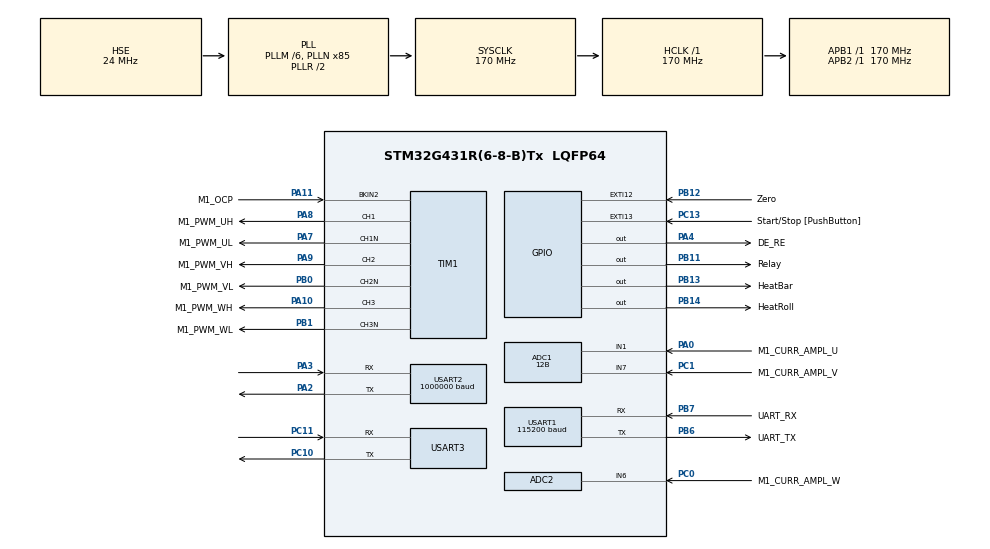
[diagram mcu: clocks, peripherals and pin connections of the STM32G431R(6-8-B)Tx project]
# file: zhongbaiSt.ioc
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ADC1.ClockPrescaler=ADC_CLOCK_ASYNC_DIV4
ADC1.ContinuousConvMode=DISABLE
ADC1.DMAContinuousRequests=DISABLE
ADC1.DataAlign=ADC_DATAALIGN_LEFT
ADC1.DiscontinuousConvMode=DISABLE
ADC1.EOCSelection=ADC_EOC_SINGLE_CONV
ADC1.EnableAnalogWatchDog1=false
ADC1.EnableAnalogWatchDog2=false
ADC1.EnableAnalogWatchDog3=false
ADC1.EnableInjectedConversion=ENABLE
ADC1.EnableRegularConversion=DISABLE
ADC1.ExternalTrigInjecConv=ADC_EXTERNALTRIGINJEC_T1_TRGO
ADC1.ExternalTrigInjecConvEdge=ADC_EXTERNALTRIGINJECCONV_EDGE_RISING
ADC1.InjNumberOfConversion=2
ADC1.InjectedChannel-1\#ChannelInjectedConversion=ADC_CHANNEL_1
ADC1.InjectedChannel-2\#ChannelInjectedConversion=ADC_CHANNEL_7
ADC1.InjectedConvMode=None
ADC1.InjectedOffset-1\#ChannelInjectedConversion=0
ADC1.InjectedOffset-2\#ChannelInjectedConversion=0
ADC1.InjectedOffsetNumber-1\#ChannelInjectedConversion=ADC_OFFSET_NONE
ADC1.InjectedOffsetNumber-2\#ChannelInjectedConversion=ADC_OFFSET_NONE
ADC1.InjectedRank-1\#ChannelInjectedConversion=1
ADC1.InjectedRank-2\#ChannelInjectedConversion=2
ADC1.InjectedSamplingTime-1\#ChannelInjectedConversion=ADC_SAMPLETIME_6CYCLES_5
ADC1.InjectedSamplingTime-2\#ChannelInjectedConversion=ADC_SAMPLETIME_6CYCLES_5
ADC1.LowPowerAutoWait=DISABLE
ADC1.Overrun=ADC_OVR_DATA_PRESERVED
ADC1.Resolution=ADC_RESOLUTION_12B
ADC1.ScanConvMode=ADC_SCAN_ENABLE
ADC1.master=1
ADC2.ClockPrescaler=ADC_CLOCK_ASYNC_DIV4
ADC2.ContinuousConvMode=DISABLE
ADC2.DMAContinuousRequests=DISABLE
ADC2.DataAlign=ADC_DATAALIGN_LEFT
ADC2.DiscontinuousConvMode=DISABLE
ADC2.EOCSelection=ADC_EOC_SINGLE_CONV
ADC2.EnableAnalogWatchDog1=false
ADC2.EnableAnalogWatchDog2=false
ADC2.EnableAnalogWatchDog3=false
ADC2.EnableInjectedConversion=ENABLE
ADC2.EnableRegularConversion=DISABLE
ADC2.ExternalTrigInjecConv=ADC_EXTERNALTRIGINJEC_T1_TRGO
ADC2.ExternalTrigInjecConvEdge=ADC_EXTERNALTRIGINJECCONV_EDGE_RISING
ADC2.InjNumberOfConversion=2
ADC2.InjectedChannel-1\#ChannelInjectedConversion=ADC_CHANNEL_7
ADC2.InjectedChannel-2\#ChannelInjectedConversion=ADC_CHANNEL_6
ADC2.InjectedConvMode=None
ADC2.InjectedOffset-1\#ChannelInjectedConversion=0
ADC2.InjectedOffset-2\#ChannelInjectedConversion=0
ADC2.InjectedOffsetNumber-1\#ChannelInjectedConversion=ADC_OFFSET_NONE
ADC2.InjectedOffsetNumber-2\#ChannelInjectedConversion=ADC_OFFSET_NONE
ADC2.InjectedRank-1\#ChannelInjectedConversion=1
ADC2.InjectedRank-2\#ChannelInjectedConversion=2
ADC2.InjectedSamplingTime-1\#ChannelInjectedConversion=ADC_SAMPLETIME_6CYCLES_5
ADC2.InjectedSamplingTime-2\#ChannelInjectedConversion=ADC_SAMPLETIME_6CYCLES_5
ADC2.LowPowerAutoWait=DISABLE
ADC2.Overrun=ADC_OVR_DATA_PRESERVED
ADC2.Resolution=ADC_RESOLUTION_12B
ADC2.ScanConvMode=ADC_SCAN_ENABLE
ADC2.master=1
ExtraMW=MotorControl
ExtraMW.MotorControl.Config=MotorControl
ExtraMW.MotorControl.Mode=MotorControl
ExtraMW.MotorControl.Root=MCSDK_v5.4.8-Full/MotorControl
ExtraMW.MotorControl.Template=templates
Mcu.Family=STM32G4
Mcu.Name=STM32G431R(6-8-B)Tx
Mcu.Package=LQFP64
MotorControl.ADC_1_PERIPH=ADC1
MotorControl.ADC_2_PERIPH=ADC2
MotorControl.ADC_AHBPERIPH=RCC_AHBPeriph_ADC12
MotorControl.ADC_CLOCK_WB_DIV=4
MotorControl.ADC_CLOCK_WB_FREQ=42.5
MotorControl.ADC_PERIPH=ADC1
MotorControl.ADC_REFERENCE_VOLTAGE=3.30
MotorControl.ALIGNMENT_ANGLE_DEG=90
MotorControl.ALIGNMENT_DURATION=700
MotorControl.AMPLIFICATION_GAIN=2.20
MotorControl.ANGC={0,0,0,0,0,0,0,0}
MotorControl.BEMF_CONSISTENCY_GAIN=64
MotorControl.BEMF_CONSISTENCY_TOL=64
MotorControl.BKIN1_FILTER=0
MotorControl.BKIN2_FILTER=3
MotorControl.BKIN2_MODE=EXT_MODE
MotorControl.BKIN_MODE=NONE
MotorControl.BOARD=CUSTOM
MotorControl.BRKIN2_GPIO_AF=GPIO_AF_12
MotorControl.BRKIN_GPIO_AF=GPIO_AF_2
MotorControl.BUS_VOLTAGE_READING=true
MotorControl.CCMRAM_ENABLED=false
MotorControl.CLOCK_FREQUENCY=CPU_CLK_170_MHZ
MotorControl.CLOCK_SOURCE=EXTERNAL
MotorControl.CONSTANT1_D=170823
MotorControl.CONSTANT1_Q=170823
MotorControl.CONSTANT2_QD=17712
MotorControl.CORD_BEMF_CONSISTENCY_GAIN=64
MotorControl.CORD_BEMF_CONSISTENCY_TOL=64
MotorControl.CORD_F1=16384
MotorControl.CORD_F2=8192
MotorControl.CORD_FIFO_DEPTH_01HZ=64
MotorControl.CORD_FIFO_DEPTH_DPP=64
MotorControl.CORD_GAIN1=-24462
MotorControl.CORD_GAIN2=17764
MotorControl.CORD_MAX_ACCEL_DPPP=30
MotorControl.CORD_MEAS_ERRORS_BEFORE_FAULTS=3
MotorControl.CORD_VARIANCE_THRESHOLD=4
MotorControl.CPU_CLK_170_MHZ=true
MotorControl.CTRBDID=29
MotorControl.CUBE_MX_VER=6.3.0
MotorControl.CURRENT_READING_TOPOLOGY=THREE_SHUNT_INDEPENDENT_RESOURCES
MotorControl.CURR_SAMPLING_TIME=6
MotorControl.DAC_EMULATED=false
MotorControl.DAC_FUNCTIONALITY=false
MotorControl.DAC_TIMER_CH1_GPIO_PIN=LL_GPIO_PIN_0
MotorControl.DAC_TIMER_CH1_GPIO_PORT=GPIOA
MotorControl.DAC_TIMER_CH2_GPIO_PIN=LL_GPIO_PIN_0
MotorControl.DAC_TIMER_CH2_GPIO_PORT=GPIOA
MotorControl.DAC_TIMER_SELECTION=TIM3
MotorControl.DC_CURRENT_RS_MEAS=2.50
MotorControl.DEBUG_DAC_CH1=false
MotorControl.DEBUG_DAC_CH2=false
MotorControl.DEFAULT_CONTROL_MODE=STC_SPEED_MODE
MotorControl.DEFAULT_DAC_CHANNEL_1=MC_PROTOCOL_REG_I_A
MotorControl.DEFAULT_DAC_CHANNEL_2=MC_PROTOCOL_REG_I_B
MotorControl.DEFAULT_DAC_MOTOR=0
MotorControl.DEFAULT_FLUX_COMPONENT=0
MotorControl.DEFAULT_TARGET_SPEED_RPM=1800
MotorControl.DEFAULT_TORQUE_COMPONENT=0
MotorControl.DISSIPATIVE_BRAKE_POLARITY=DOUT_ACTIVE_HIGH
MotorControl.DRIVES_NUMBER_SELECTION=SINGLEDRIVE
MotorControl.EMERGENCY2_STOP_GPIO_PIN=LL_GPIO_PIN_11
MotorControl.EMERGENCY2_STOP_GPIO_PORT=GPIOA
MotorControl.EMERGENCY_STOP_GPIO_PIN=LL_GPIO_PIN_11
MotorControl.EMERGENCY_STOP_GPIO_PORT=GPIOA
MotorControl.ENABLE_SL_ALGO_FROM_PHASE=3
MotorControl.ENCODER_AVAILABLE=false
MotorControl.ENCODER_PPR=400
MotorControl.ENC_AVERAGING_FIFO_DEPTH=16
MotorControl.ENC_A_GPIO_PIN=LL_GPIO_PIN_15
MotorControl.ENC_A_GPIO_PORT=GPIOA
MotorControl.ENC_B_GPIO_PIN=LL_GPIO_PIN_3
MotorControl.ENC_B_GPIO_PORT=GPIOB
MotorControl.ENC_ICx_FILTER=119
MotorControl.ENC_INVERT_SPEED=false
MotorControl.ENC_MEAS_ERRORS_BEFORE_FAULTS=3
MotorControl.ENC_TIMER_REMAPPING=NO_REMAP_TIM2
MotorControl.ENC_TIMER_SELECTION=ENC_TIM2
MotorControl.ENC_USE_CH3=false
MotorControl.EXT_CLK_24_MHZ=true
MotorControl.EXT_CLOCK_FREQUENCY=EXT_CLK_24_MHZ
MotorControl.F1=16384
MotorControl.F2=8192
MotorControl.FEEDBACK_NET_FILTERING=false
MotorControl.FEED_FORWARD_CURRENT_REG_ENABLING=false
MotorControl.FINAL_I_ALIGNMENT=8519
MotorControl.FLUX_WEAKENING_ENABLING=false
MotorControl.FW_KIDIV=32768
MotorControl.FW_KI_GAIN=5000
MotorControl.FW_KPDIV=32768
MotorControl.FW_KP_GAIN=3000
MotorControl.FW_VOLTAGE_REF=985
MotorControl.GAIN1=-24462
MotorControl.GAIN2=17764
MotorControl.H1_GPIO_PIN=LL_GPIO_PIN_15
MotorControl.H1_GPIO_PORT=GPIOA
MotorControl.H2_GPIO_PIN=LL_GPIO_PIN_3
MotorControl.H2_GPIO_PORT=GPIOB
MotorControl.H3_GPIO_PIN=LL_GPIO_PIN_10
MotorControl.H3_GPIO_PORT=GPIOB
MotorControl.HALL_AVERAGING_FIFO_DEPTH=6
MotorControl.HALL_ICx_FILTER=221
MotorControl.HALL_MEAS_ERRORS_BEFORE_FAULTS=3
MotorControl.HALL_MTPA=false
MotorControl.HALL_PHASE_SHIFT=300
MotorControl.HALL_SENSORS_AVAILABLE=false
MotorControl.HALL_SENSORS_PLACEMENT=DEGREES_120
MotorControl.HALL_TIMER_REMAPPING=NO_REMAP_TIM2
MotorControl.HALL_TIMER_SELECTION=HALL_TIM2
MotorControl.HFI_AMPLITUDE=25
MotorControl.HFI_DC_0_COEFF=0.00146
MotorControl.HFI_DC_1_COEFF=0.002921
MotorControl.HFI_DC_2_COEFF=0.00146
MotorControl.HFI_DC_3_COEFF=1.889033
MotorControl.HFI_DC_4_COEFF=-0.894874
MotorControl.HFI_DEBUG_MODE=false
MotorControl.HFI_FREQUENCY=400
MotorControl.HFI_HIFRAMPLSCAN=25
MotorControl.HFI_HP_ID_0_COEFF=0.925191
MotorControl.HFI_HP_ID_1_COEFF=-1.850383
MotorControl.HFI_HP_ID_2_COEFF=0.925191
MotorControl.HFI_HP_ID_3_COEFF=1.844778
MotorControl.HFI_HP_ID_4_COEFF=-0.855987
MotorControl.HFI_IDH_DELAY=32400
MotorControl.HFI_LOCKFREQ=41
MotorControl.HFI_LP_ID_0_COEFF=0.009086
MotorControl.HFI_LP_ID_1_COEFF=0.018172
MotorControl.HFI_LP_ID_2_COEFF=0.009086
MotorControl.HFI_LP_ID_3_COEFF=1.712838
MotorControl.HFI_LP_ID_4_COEFF=-0.749181
MotorControl.HFI_MAXANGLEDIFF=3640
MotorControl.HFI_MINIMUM_SPEED_RPM=402
MotorControl.HFI_NOTCH_IQD_0_COEFF=0.962363
MotorControl.HFI_NOTCH_IQD_1_COEFF=-1.90103
MotorControl.HFI_NOTCH_IQD_2_COEFF=0.962363
MotorControl.HFI_NOTCH_IQD_3_COEFF=1.90103
MotorControl.HFI_NOTCH_IQD_4_COEFF=-0.924727
MotorControl.HFI_NSDETPOINTSSKIP=10
MotorControl.HFI_NSMAXDETPOINTS=20
MotorControl.HFI_NS_MIN_SAT_DIFF=0
MotorControl.HFI_PID_KIDIV=32768
MotorControl.HFI_PID_KI_DEFAULT=400
MotorControl.HFI_PID_KPDIV=16384
MotorControl.HFI_PID_KP_DEFAULT=800
MotorControl.HFI_PLL_KI_DEFAULT=0.00400
MotorControl.HFI_PLL_KP_DEFAULT=0.00060
MotorControl.HFI_RESTARTTIMESEC=0.1
MotorControl.HFI_RESTART_RPM_TH=(((HFI_STO_RPM_TH)+(STO_HFI_RPM_TH))/2)
MotorControl.HFI_REVERT_DIRECTION=true
MotorControl.HFI_SCANROTATIONSNO=3
MotorControl.HFI_SPD_BUFFER_DEPTH_01HZ=64
MotorControl.HFI_STEPANGLE=3640
MotorControl.HFI_STO_RPM_TH=OBS_MINIMUM_SPEED_RPM
MotorControl.HFI_WAITAFTERNS2=4
MotorControl.HFI_WAITBEFORESN=6
MotorControl.HFI_WAITSYNCH=20
MotorControl.HFI_WAITTRACK=20
MotorControl.HIGH_SIDE_BRAKE_STATE=false
MotorControl.HIGH_SIDE_IDLE_STATE=false
MotorControl.HW_COMPLEMENTED_LOW_SIDE=false
MotorControl.HW_DEAD_TIME_NS=100
MotorControl.HW_OV_CURRENT_PROT_BYPASS=false
MotorControl.ID_DEMAG=-10922
MotorControl.INRUSH_CURRLIMIT_AT_POWER_ON=true
MotorControl.INRUSH_CURRLIMIT_CHANGE_AFTER_MS=1000
MotorControl.INRUSH_CURRLIMIT_ENABLING=false
MotorControl.INRUSH_CURRLIMIT_GPIO_PIN=LL_GPIO_PIN_10
MotorControl.INRUSH_CURRLIMIT_GPIO_PORT=GPIOC
MotorControl.INRUSH_CURR_LIMITER_POLARITY=DOUT_ACTIVE_HIGH
MotorControl.INTERNAL_OVERCURRENTPROTECTION=false
MotorControl.INTERNAL_OVERVOLTAGEPROTECTION=false
MotorControl.IPs=CORDIC,NVIC,RCC,SYS,MotorControl,TIM1,ADC1,ADC2,DAC1,USART1
MotorControl.IQMAX=10922
MotorControl.LCD_JOYSTICK_FUNCTIONALITY=false
MotorControl.LCD_MODE=LCD_FULL
MotorControl.LDLQ_RATIO=1.000
MotorControl.LOW_SIDE_BRAKE_STATE=false
MotorControl.LOW_SIDE_IDLE_STATE=false
MotorControl.LOW_SIDE_SIGNALS_ENABLING=LS_PWM_TIMER
MotorControl.LS=0.005765
MotorControl.MAX_APPLICATION_SPEED=20000
MotorControl.MAX_MODULATION_97_PER_CENT=true
MotorControl.MAX_MODULATION_INDEX=MAX_MODULATION_97_PER_CENT
MotorControl.MCU=STM32G431RB
MotorControl.MCU_TYPE=STM32G431RB
MotorControl.MC_WORKBENCH_VERSION=5.4.8.21553
MotorControl.MEAS_ERRORS_BEFORE_FAULTS=3
MotorControl.MIN_APPLICATION_SPEED=0
MotorControl.MOTOR_MAX_SPEED_RPM=20000
MotorControl.MOTOR_TYPE=PMSM
MotorControl.MOTOR_VOLTAGE_CONSTANT=9.2
MotorControl.MTPA_ENABLING=false
MotorControl.NB_CONSECUTIVE_TESTS=2
MotorControl.NOMINAL_BUS_VOLTAGE_V=320
MotorControl.NOMINAL_CURRENT=10922
MotorControl.OBS_MEAS_ERRORS_BEFORE_FAULTS=3
MotorControl.OBS_MINIMUM_SPEED_RPM=2500
MotorControl.OCPA_INVERTINGINPUT=COMPX_InvertingInput_VREF
MotorControl.OCPA_INVERTINGINPUT_GPIO_PIN=LL_GPIO_PIN_4
MotorControl.OCPA_INVERTINGINPUT_GPIO_PORT=GPIOA
MotorControl.OCPA_INVERTINGINPUT_MODE=INT_MODE
MotorControl.OCPA_NONINVERTINGINPUT=COMP1_NonInvertingInput_PA1
MotorControl.OCPA_NONINVERTINGINPUT_GPIO_PIN=LL_GPIO_PIN_1
MotorControl.OCPA_NONINVERTINGINPUT_GPIO_PORT=GPIOA
MotorControl.OCPA_OUTPUT=COMP_Output_TIM1BKIN2
MotorControl.OCPA_OUTPUTPOL=COMP_OutputPol_NonInverted
MotorControl.OCPA_OUTPUT_GPIO_AF=GPIO_AF_2
MotorControl.OCPA_OUTPUT_GPIO_PIN=LL_GPIO_PIN_0
MotorControl.OCPA_OUTPUT_GPIO_PORT=GPIOA
MotorControl.OCPA_OUTPUT_MODE=INT_MODE
MotorControl.OCPA_SELECTION=COMP1
MotorControl.OCPB_INVERTINGINPUT=COMPX_InvertingInput_VREF
MotorControl.OCPB_INVERTINGINPUT_GPIO_PIN=LL_GPIO_PIN_4
MotorControl.OCPB_INVERTINGINPUT_GPIO_PORT=GPIOA
MotorControl.OCPB_INVERTINGINPUT_MODE=INT_MODE
MotorControl.OCPB_NONINVERTINGINPUT=COMP2_NonInvertingInput_PA7
MotorControl.OCPB_NONINVERTINGINPUT_GPIO_PIN=LL_GPIO_PIN_7
MotorControl.OCPB_NONINVERTINGINPUT_GPIO_PORT=GPIOA
MotorControl.OCPB_OUTPUT=COMP_Output_TIM1BKIN2
MotorControl.OCPB_OUTPUTPOL=COMP_OutputPol_NonInverted
MotorControl.OCPB_OUTPUT_GPIO_AF=GPIO_AF_2
MotorControl.OCPB_OUTPUT_GPIO_PIN=LL_GPIO_PIN_2
MotorControl.OCPB_OUTPUT_GPIO_PORT=GPIOA
MotorControl.OCPB_OUTPUT_MODE=INT_MODE
MotorControl.OCPB_SELECTION=COMP2
MotorControl.OCPC_INVERTINGINPUT=COMPX_InvertingInput_VREF
MotorControl.OCPC_INVERTINGINPUT_GPIO_PIN=LL_GPIO_PIN_4
MotorControl.OCPC_INVERTINGINPUT_GPIO_PORT=GPIOA
MotorControl.OCPC_INVERTINGINPUT_MODE=INT_MODE
MotorControl.OCPC_NONINVERTINGINPUT=COMP3_NonInvertingInput_PD14
MotorControl.OCPC_NONINVERTINGINPUT_GPIO_PIN=LL_GPIO_PIN_14
MotorControl.OCPC_NONINVERTINGINPUT_GPIO_PORT=GPIOD
MotorControl.OCPC_OUTPUT=COMP_Output_TIM1BKIN2
MotorControl.OCPC_OUTPUTPOL=COMP_OutputPol_NonInverted
MotorControl.OCPC_OUTPUT_GPIO_AF=GPIO_AF_2
MotorControl.OCPC_OUTPUT_GPIO_PIN=LL_GPIO_PIN_8
MotorControl.OCPC_OUTPUT_GPIO_PORT=GPIOC
MotorControl.OCPC_OUTPUT_MODE=INT_MODE
MotorControl.OCPC_SELECTION=COMP3
MotorControl.OCPREF=23830
MotorControl.OCP_COMP_THRESHOLD=5.70
MotorControl.OCP_FILTER=COMP_Mode_HighSpeed
MotorControl.OCP_INVERTINGINPUT=COMPX_InvertingInput_VREF
MotorControl.OCP_INVERTINGINPUT_GPIO_PIN=LL_GPIO_PIN_4
MotorControl.OCP_INVERTINGINPUT_GPIO_PORT=GPIOA
MotorControl.OCP_INVERTINGINPUT_MODE=INT_MODE
MotorControl.OCP_NONINVERTINGINPUT=COMP2_NonInvertingInput_PA7
MotorControl.OCP_NONINVERTINGINPUT_GPIO_PIN=LL_GPIO_PIN_7
MotorControl.OCP_NONINVERTINGINPUT_GPIO_PORT=GPIOA
MotorControl.OCP_OUTPUT=COMP_Output_TIM1BKIN2
MotorControl.OCP_OUTPUTPOL=COMP_OutputPol_NonInverted
MotorControl.OCP_OUTPUT_GPIO_AF=GPIO_AF_2
MotorControl.OCP_OUTPUT_GPIO_PIN=LL_GPIO_PIN_2
MotorControl.OCP_OUTPUT_GPIO_PORT=GPIOA
MotorControl.OCP_OUTPUT_MODE=INT_MODE
MotorControl.OCP_SELECTION=COMP2
MotorControl.OFST={0,0,0,0,0,0,0,0}
MotorControl.ON_OVER_VOLTAGE=TURN_OFF_PWM
MotorControl.OPAMP1_INVERTINGINPUT=OPAMP1_InvertingInput_PGA
MotorControl.OPAMP1_INVERTINGINPUT_GPIO_PIN=LL_GPIO_PIN_3
MotorControl.OPAMP1_INVERTINGINPUT_GPIO_PORT=GPIOA
MotorControl.OPAMP1_INVERTINGINPUT_MODE=INT_MODE
MotorControl.OPAMP1_NONINVERTINGINPUT_PHA=OPAMP1_NonInvertingInput_PA1
MotorControl.OPAMP1_NONINVERTINGINPUT_PHA_GPIO_PIN=LL_GPIO_PIN_1
MotorControl.OPAMP1_NONINVERTINGINPUT_PHA_GPIO_PORT=GPIOA
MotorControl.OPAMP1_NONINVERTINGINPUT_PHB=OPAMP1_NonInvertingInput_PA7
MotorControl.OPAMP1_NONINVERTINGINPUT_PHB_GPIO_PIN=LL_GPIO_PIN_7
MotorControl.OPAMP1_NONINVERTINGINPUT_PHB_GPIO_PORT=GPIOA
MotorControl.OPAMP1_OUT_GPIO_PIN=LL_GPIO_PIN_2
MotorControl.OPAMP1_OUT_GPIO_PORT=GPIOA
MotorControl.OPAMP1_SELECTION=OPAMP1
MotorControl.OPAMP2_INVERTINGINPUT=OPAMP2_InvertingInput_PGA
MotorControl.OPAMP2_INVERTINGINPUT_GPIO_PIN=LL_GPIO_PIN_0
MotorControl.OPAMP2_INVERTINGINPUT_GPIO_PORT=GPIOA
MotorControl.OPAMP2_INVERTINGINPUT_MODE=INT_MODE
MotorControl.OPAMP2_NONINVERTINGINPUT_PHA=OPAMP2_NonInvertingInput_PB14
MotorControl.OPAMP2_NONINVERTINGINPUT_PHA_GPIO_PIN=LL_GPIO_PIN_14
MotorControl.OPAMP2_NONINVERTINGINPUT_PHA_GPIO_PORT=GPIOB
MotorControl.OPAMP2_NONINVERTINGINPUT_PHB=OPAMP2_NonInvertingInput_PA7
MotorControl.OPAMP2_NONINVERTINGINPUT_PHB_GPIO_PIN=LL_GPIO_PIN_7
MotorControl.OPAMP2_NONINVERTINGINPUT_PHB_GPIO_PORT=GPIOA
MotorControl.OPAMP2_NONINVERTINGINPUT_PHC=OPAMP2_NonInvertingInput_PB14
MotorControl.OPAMP2_NONINVERTINGINPUT_PHC_GPIO_PIN=LL_GPIO_PIN_14
MotorControl.OPAMP2_NONINVERTINGINPUT_PHC_GPIO_PORT=GPIOB
MotorControl.OPAMP2_OUT_GPIO_PIN=LL_GPIO_PIN_6
MotorControl.OPAMP2_OUT_GPIO_PORT=GPIOA
MotorControl.OPAMP2_SELECTION=OPAMP2
MotorControl.OPAMP3_INVERTINGINPUT=OPAMP1_InvertingInput_PGA
MotorControl.OPAMP3_INVERTINGINPUT_GPIO_PIN=LL_GPIO_PIN_0
MotorControl.OPAMP3_INVERTINGINPUT_GPIO_PORT=GPIOA
MotorControl.OPAMP3_INVERTINGINPUT_MODE=INT_MODE
MotorControl.OPAMP3_SELECTION=OPAMP1
MotorControl.OPAMP_INVERTINGINPUT=OPAMP1_InvertingInput_PGA
MotorControl.OPAMP_INVERTINGINPUT_GPIO_PIN=LL_GPIO_PIN_3
MotorControl.OPAMP_INVERTINGINPUT_GPIO_PORT=GPIOA
MotorControl.OPAMP_INVERTINGINPUT_MODE=INT_MODE
MotorControl.OPAMP_NONINVERTINGINPUT=OPAMP1_NonInvertingInput_PA7
MotorControl.OPAMP_NONINVERTINGINPUT_GPIO_PIN=LL_GPIO_PIN_7
MotorControl.OPAMP_NONINVERTINGINPUT_GPIO_PORT=GPIOA
MotorControl.OPAMP_OUT_GPIO_PIN=LL_GPIO_PIN_2
MotorControl.OPAMP_OUT_GPIO_PORT=GPIOA
MotorControl.OPAMP_PGACONNECT=OPAMP_PGAConnect_No
MotorControl.OPAMP_PGAGAIN=OPAMP_OPAMP_PGAGain_2
MotorControl.OPAMP_SELECTION=OPAMP1
MotorControl.OPAMP_TYPE_GAIN=INTERNAL
MotorControl.OPEN_LOOP_FOC=false
MotorControl.OPEN_LOOP_K=44
MotorControl.OPEN_LOOP_OFF=4400
MotorControl.OPEN_LOOP_SPEED_RAMP_DURATION_MS=1000
MotorControl.OPEN_LOOP_SPEED_RPM=100
MotorControl.OPEN_LOOP_VF=false
MotorControl.OPEN_LOOP_VOLTAGE_d=6000
MotorControl.OVERCURR_FEEDBACK_POLARITY=EMSTOP_ACTIVE_LOW
MotorControl.OVERCURR_PROTECTION_HW_DISABLING=DOUT_ACTIVE_HIGH
MotorControl.OVPREF=23830
MotorControl.OVP_FILTER=COMP_Mode_HighSpeed
MotorControl.OVP_INVERTINGINPUT=COMPX_InvertingInput_VREF
MotorControl.OVP_INVERTINGINPUT_GPIO_PIN=LL_GPIO_PIN_4
MotorControl.OVP_INVERTINGINPUT_GPIO_PORT=GPIOA
MotorControl.OVP_INVERTINGINPUT_MODE=INT_MODE
MotorControl.OVP_NONINVERTINGINPUT=COMP2_NonInvertingInput_PA7
MotorControl.OVP_NONINVERTINGINPUT_GPIO_PIN=LL_GPIO_PIN_7
MotorControl.OVP_NONINVERTINGINPUT_GPIO_PORT=GPIOA
MotorControl.OVP_OUTPUT=COMP_Output_TIM1BKIN
MotorControl.OVP_OUTPUTPOL=COMP_OutputPol_NonInverted
MotorControl.OVP_OUTPUT_GPIO_AF=GPIO_AF_2
MotorControl.OVP_OUTPUT_GPIO_PIN=LL_GPIO_PIN_2
MotorControl.OVP_OUTPUT_GPIO_PORT=GPIOA
MotorControl.OVP_OUTPUT_MODE=INT_MODE
MotorControl.OVP_SELECTION=COMP2
MotorControl.OV_CURR_BYPASS_GPIO_PIN=LL_GPIO_PIN_11
MotorControl.OV_CURR_BYPASS_GPIO_PORT=GPIOC
MotorControl.OV_TEMPERATURE_HYSTERESIS_C=10
MotorControl.OV_TEMPERATURE_PROT_ENABLING=false
MotorControl.OV_TEMPERATURE_THRESHOLD_C=70
MotorControl.OV_VOLTAGE_PROT_ENABLING=false
MotorControl.OV_VOLTAGE_THRESHOLD_V=400
MotorControl.PHASE1_DURATION=3000
MotorControl.PHASE1_FINAL_CURRENT=7427
MotorControl.PHASE1_FINAL_SPEED_RPM=0
MotorControl.PHASE2_DURATION=3000
MotorControl.PHASE2_FINAL_CURRENT=10922
MotorControl.PHASE2_FINAL_SPEED_RPM=1000
MotorControl.PHASE3_DURATION=3000
MotorControl.PHASE3_FINAL_CURRENT=10922
MotorControl.PHASE3_FINAL_SPEED_RPM=1500
MotorControl.PHASE4_DURATION=3000
MotorControl.PHASE4_FINAL_CURRENT=10922
MotorControl.PHASE4_FINAL_SPEED_RPM=2500
MotorControl.PHASE5_DURATION=3000
MotorControl.PHASE5_FINAL_CURRENT=10922
MotorControl.PHASE5_FINAL_SPEED_RPM=3500
MotorControl.PHASE_CURRENTS_ADC=ADC1_2
MotorControl.PHASE_CURRENTS_CHANNEL=ADC_CHANNEL_7
MotorControl.PHASE_CURRENTS_GPIO_PIN=LL_GPIO_PIN_1
MotorControl.PHASE_CURRENTS_GPIO_PORT=GPIOC
MotorControl.PHASE_UH_GPIO_AF=GPIO_AF_6
MotorControl.PHASE_UH_GPIO_PIN=LL_GPIO_PIN_8
MotorControl.PHASE_UH_GPIO_PORT=GPIOA
MotorControl.PHASE_UH_POLARITY=H_ACTIVE_HIGH
MotorControl.PHASE_UL_GPIO_AF=GPIO_AF_6
MotorControl.PHASE_UL_GPIO_PIN=LL_GPIO_PIN_7
MotorControl.PHASE_UL_GPIO_PORT=GPIOA
MotorControl.PHASE_UL_POLARITY=L_ACTIVE_HIGH
MotorControl.PHASE_U_CURR_ADC=ADC1_2
MotorControl.PHASE_U_CURR_CHANNEL=ADC_CHANNEL_1
MotorControl.PHASE_U_GPIO_PIN=LL_GPIO_PIN_0
MotorControl.PHASE_U_GPIO_PORT=GPIOA
MotorControl.PHASE_VH_GPIO_AF=GPIO_AF_6
MotorControl.PHASE_VH_GPIO_PIN=LL_GPIO_PIN_9
MotorControl.PHASE_VH_GPIO_PORT=GPIOA
MotorControl.PHASE_VH_POLARITY=H_ACTIVE_HIGH
MotorControl.PHASE_VL_GPIO_AF=GPIO_AF_6
MotorControl.PHASE_VL_GPIO_PIN=LL_GPIO_PIN_0
MotorControl.PHASE_VL_GPIO_PORT=GPIOB
MotorControl.PHASE_VL_POLARITY=L_ACTIVE_HIGH
MotorControl.PHASE_V_CURR_ADC=ADC1_2
MotorControl.PHASE_V_CURR_CHANNEL=ADC_CHANNEL_7
MotorControl.PHASE_V_GPIO_PIN=LL_GPIO_PIN_1
MotorControl.PHASE_V_GPIO_PORT=GPIOC
MotorControl.PHASE_WH_GPIO_AF=GPIO_AF_6
MotorControl.PHASE_WH_GPIO_PIN=LL_GPIO_PIN_10
MotorControl.PHASE_WH_GPIO_PORT=GPIOA
MotorControl.PHASE_WH_POLARITY=H_ACTIVE_HIGH
MotorControl.PHASE_WL_GPIO_AF=GPIO_AF_4
MotorControl.PHASE_WL_GPIO_PIN=LL_GPIO_PIN_1
MotorControl.PHASE_WL_GPIO_PORT=GPIOB
MotorControl.PHASE_WL_POLARITY=L_ACTIVE_HIGH
MotorControl.PHASE_W_CURR_ADC=ADC1_2
MotorControl.PHASE_W_CURR_CHANNEL=ADC_CHANNEL_6
MotorControl.PHASE_W_GPIO_PIN=LL_GPIO_PIN_0
MotorControl.PHASE_W_GPIO_PORT=GPIOC
MotorControl.PID_FLUX_KD_DEFAULT=100
MotorControl.PID_FLUX_KI_DEFAULT=122
MotorControl.PID_FLUX_KP_DEFAULT=3321
MotorControl.PID_SPEED_KD_DEFAULT=0
MotorControl.PID_SPEED_KI_DEFAULT=700
MotorControl.PID_SPEED_KP_DEFAULT=1000
MotorControl.PID_TORQUE_KD_DEFAULT=100
MotorControl.PID_TORQUE_KI_DEFAULT=122
MotorControl.PID_TORQUE_KP_DEFAULT=3321
MotorControl.PLL_KI_GAIN=58
MotorControl.PLL_KP_GAIN=1330
MotorControl.POLE_PAIR_NUM=2
MotorControl.POSITION_CTRL_ENABLING=false
MotorControl.PWBDID=10
MotorControl.PWM_FREQUENCY=16000
MotorControl.PWM_TIMER_REMAPPING=PWM_PARTIAL_REMAP
MotorControl.PWM_TIMER_SELECTION=PWM_TIM1
MotorControl.REGCONVADC=ADC2
MotorControl.REGULATION_EXECUTION_RATE=1
MotorControl.RS=0.85
MotorControl.RSHUNT=0.10000
MotorControl.RTOS=NONE
MotorControl.R_BRAKE_GPIO_PIN=LL_GPIO_PIN_11
MotorControl.R_BRAKE_GPIO_PORT=GPIOC
MotorControl.R_BRAKE_SWITCH_OFF_THRES_V=320
MotorControl.SEGDIV=0
MotorControl.SERIAL_COMMUNICATION=true
MotorControl.SERIAL_COM_CHANNEL1=MC_PROTOCOL_REG_I_A
MotorControl.SERIAL_COM_CHANNEL2=MC_PROTOCOL_REG_I_A
MotorControl.SERIAL_COM_MODE=COM_BIDIRECTIONAL
MotorControl.SERIAL_COM_MOTOR=0
MotorControl.SHARED_SIGNAL_ENABLE=false
MotorControl.SINGLEDRIVE=true
MotorControl.SPD_DIFFERENTIAL_TERM_ENABLING=false
MotorControl.SPEED_BAND_LOWER_LIMIT=15
MotorControl.SPEED_BAND_UPPER_LIMIT=17
MotorControl.SPEED_FEEDBACK_CHECK=true
MotorControl.SPEED_LOOP_FREQUENCY_HZ=1000
MotorControl.SPEED_SENSOR_SELECTION=STATE_OBSERVER_PLL
MotorControl.SP_KDDIV=16
MotorControl.SP_KIDIV=256
MotorControl.SP_KPDIV=16
MotorControl.STARTING_ANGLE_DEG=90
MotorControl.START_STOP_BTN=false
MotorControl.START_STOP_GPIO_PIN=LL_GPIO_PIN_13
MotorControl.START_STOP_GPIO_PORT=GPIOC
MotorControl.START_STOP_POLARITY=DIN_ACTIVE_LOW
MotorControl.START_STOP_POLARITY_EDGE=GPIO_NOPULL
MotorControl.STATE_OBSERVER_PLL=true
MotorControl.STM32G431RB=true
MotorControl.STO_FIFO_DEPTH_01HZ=64
MotorControl.STO_FIFO_DEPTH_DPP=64
MotorControl.STO_HFI_RPM_TH=460
MotorControl.SW_DEADTIME_NS=1200
MotorControl.SW_OV_CURRENT_PROT_ENABLING=true
MotorControl.T0_C=25
MotorControl.TEMPERATURE_READING=false
MotorControl.TEMP_ADC_SAMPLING_TIME=47
MotorControl.TEMP_FDBK_ADC=ADC2
MotorControl.TEMP_FDBK_CHANNEL=ADC_CHANNEL_8
MotorControl.TEMP_FDBK_GPIO_PIN=LL_GPIO_PIN_2
MotorControl.TEMP_FDBK_GPIO_PORT=GPIOC
MotorControl.TFDIFFERENTIAL_TERM_ENABLING=false
MotorControl.TF_KDDIV=8192
MotorControl.TF_KIDIV=16384
MotorControl.TF_KPDIV=4096
MotorControl.THREE_SHUNT_INDEPENDENT_RESOURCES=true
MotorControl.TNOISE_NS=2000
MotorControl.TRANSITION_DURATION=0
MotorControl.TRISE_NS=1500
MotorControl.T_MAX=70
MotorControl.UD_VOLTAGE_THRESHOLD_V=10
MotorControl.USART_REMAPPING=NO_REMAP_USART1
MotorControl.USART_RX_GPIO_PIN=LL_GPIO_PIN_7
MotorControl.USART_RX_GPIO_PORT=GPIOB
MotorControl.USART_SELECTION=USE_USART1
MotorControl.USART_SPEED=115200
MotorControl.USART_TX_GPIO_PIN=LL_GPIO_PIN_6
MotorControl.USART_TX_GPIO_PORT=GPIOB
MotorControl.USE_3OPAMPS=false
MotorControl.USE_INTERNAL_OPAMP=false
MotorControl.UV_VOLTAGE_PROT_ENABLING=false
MotorControl.V0_V=1.400
MotorControl.VARIANCE_THRESHOLD=0.1
MotorControl.VBUS_ADC=ADC2
MotorControl.VBUS_ADC_SAMPLING_TIME=47
MotorControl.VBUS_CHANNEL=ADC_CHANNEL_8
MotorControl.VBUS_GPIO_PIN=LL_GPIO_PIN_2
MotorControl.VBUS_GPIO_PORT=GPIOC
MotorControl.VBUS_PARTITIONING_FACTOR=0.0079
MotorControl.WB_to_Mx_template_version=21-11-15
MotorControl.WB_to_Mx_version=1.5.1
MotorControl.dV_dT=0.019
NVIC.ADC1_2_IRQn=true\:2\:0\:true\:true\:false\:3\:true\:true
NVIC.EXTI15_10_IRQn=true\:7\:0\:true\:false\:true\:true\:true
NVIC.PriorityGroup=NVIC_PRIORITYGROUP_3
NVIC.TIM1_BRK_TIM15_IRQn=true\:4\:1\:true\:true\:false\:1\:true\:true
NVIC.TIM1_UP_TIM16_IRQn=true\:0\:0\:false\:true\:false\:2\:true\:true
NVIC.TIM2_IRQn=true\:5\:0\:true\:false\:true\:true\:true
NVIC.TIM3_IRQn=true\:5\:0\:true\:false\:true\:true\:true
NVIC.TIM6_DAC_IRQn=true\:7\:0\:true\:false\:true\:true\:true
NVIC.USART1_IRQn=true\:3\:1\:true\:true\:false\:4\:true\:true
NVIC.USART2_IRQn=true\:7\:0\:true\:false\:true\:true\:true
NVIC.USART3_IRQn=true\:7\:0\:true\:false\:true\:true\:true
PA0.GPIO_Label=M1_CURR_AMPL_U
PA0.Mode=IN1-Single-Ended
PA0.Signal=ADC1_IN1
PA10.GPIO_Label=M1_PWM_WH
PA10.GPIO_PuPd=GPIO_PULLDOWN
PA10.GPIO_Speed=GPIO_SPEED_FREQ_HIGH
PA10.Signal=S_TIM1_CH3
PA11.GPIO_Label=M1_OCP
PA11.GPIO_PuPd=GPIO_PULLUP
PA11.Mode=Activate-Break-Input-2
PA11.Signal=TIM1_BKIN2
PA13.GPIO_Label=TMS
PA13.Mode=Serial_Wire
PA13.Signal=SYS_JTMS-SWDIO
PA14.GPIO_Label=TCK
PA14.Mode=Serial_Wire
PA14.Signal=SYS_JTCK-SWCLK
PA2.Mode=Asynchronous
PA2.Signal=USART2_TX
PA3.Mode=Asynchronous
PA3.Signal=USART2_RX
PA4.GPIO_Label=DE_RE
PA4.GPIO_Speed=GPIO_SPEED_FREQ_HIGH
PA4.PinState=GPIO_PIN_RESET
PA4.Signal=GPIO_Output
PA7.GPIO_Label=M1_PWM_UL
PA7.GPIO_PuPd=GPIO_PULLDOWN
PA7.GPIO_Speed=GPIO_SPEED_FREQ_HIGH
PA7.Mode=PWM Generation1 CH1 CH1N
PA7.Signal=TIM1_CH1N
PA8.GPIO_Label=M1_PWM_UH
PA8.GPIO_PuPd=GPIO_PULLDOWN
PA8.GPIO_Speed=GPIO_SPEED_FREQ_HIGH
PA8.Signal=S_TIM1_CH1
PA9.GPIO_Label=M1_PWM_VH
PA9.GPIO_PuPd=GPIO_PULLDOWN
PA9.GPIO_Speed=GPIO_SPEED_FREQ_HIGH
PA9.Signal=S_TIM1_CH2
PB0.GPIO_Label=M1_PWM_VL
PB0.GPIO_PuPd=GPIO_PULLDOWN
PB0.GPIO_Speed=GPIO_SPEED_FREQ_HIGH
PB0.Mode=PWM Generation2 CH2 CH2N
PB0.Signal=TIM1_CH2N
PB1.GPIO_Label=M1_PWM_WL
PB1.GPIO_PuPd=GPIO_PULLDOWN
PB1.GPIO_Speed=GPIO_SPEED_FREQ_HIGH
PB1.Mode=PWM Generation3 CH3 CH3N
PB1.Signal=TIM1_CH3N
PB11.GPIO_Label=Relay
PB11.GPIO_PuPd=GPIO_PULLUP
PB11.GPIO_Speed=GPIO_SPEED_FREQ_HIGH
PB11.PinState=GPIO_PIN_SET
PB11.Signal=GPIO_Output
PB12.GPIO_Label=Zero
PB12.GPIO_ModeDefaultEXTI=GPIO_MODE_IT_RISING_FALLING
PB12.Signal=GPXTI12
PB13.GPIO_Label=HeatBar
PB13.GPIO_PuPd=GPIO_PULLUP
PB13.GPIO_Speed=GPIO_SPEED_FREQ_HIGH
PB13.PinState=GPIO_PIN_SET
PB13.Signal=GPIO_Output
PB14.GPIO_Label=HeatRoll
PB14.GPIO_PuPd=GPIO_PULLUP
PB14.GPIO_Speed=GPIO_SPEED_FREQ_HIGH
PB14.PinState=GPIO_PIN_SET
PB14.Signal=GPIO_Output
PB6.GPIO_Label=UART_TX
PB6.GPIO_Mode=GPIO_MODE_AF_PP
PB6.GPIO_PuPd=GPIO_NOPULL
PB6.GPIO_Speed=GPIO_SPEED_FREQ_LOW
PB6.Mode=Asynchronous
PB6.Signal=USART1_TX
PB7.GPIO_Label=UART_RX
PB7.GPIO_Mode=GPIO_MODE_AF_PP
PB7.GPIO_PuPd=GPIO_NOPULL
PB7.GPIO_Speed=GPIO_SPEED_FREQ_LOW
PB7.Mode=Asynchronous
PB7.Signal=USART1_RX
PC0.GPIO_Label=M1_CURR_AMPL_W
PC0.Mode=IN6-Single-Ended
PC0.Signal=ADC2_IN6
PC1.GPIO_Label=M1_CURR_AMPL_V
PC1.Signal=SharedAnalog_PC1
PC10.Mode=Asynchronous
PC10.Signal=USART3_TX
PC11.Mode=Asynchronous
PC11.Signal=USART3_RX
PC13.GPIO_Label=Start/Stop [PushButton]
PC13.GPIO_ModeDefaultEXTI=GPIO_MODE_IT_FALLING
PC13.Signal=GPXTI13
PF0-OSC_IN.Mode=HSE-External-Oscillator
PF0-OSC_IN.Signal=RCC_OSC_IN
PF1-OSC_OUT.Mode=HSE-External-Oscillator
PF1-OSC_OUT.Signal=RCC_OSC_OUT
ProjectManager.HeapSize=0x200
ProjectManager.StackSize=0x400
ProjectManager.TargetToolchain=MDK-ARM V5
RCC.ADC12CLockSelection=RCC_ADC12CLKSOURCE_PLL
RCC.ADC12Freq_Value=42500000
RCC.ADC345Freq_Value=170000000
RCC.AHBFreq_Value=170000000
RCC.APB1Freq_Value=170000000
RCC.APB1TimFreq_Value=170000000
RCC.APB2Freq_Value=170000000
RCC.APB2TimFreq_Value=170000000
RCC.CortexFreq_Value=170000000
RCC.EXTERNAL_CLOCK_VALUE=12288000
RCC.EnbaleCSS=true
RCC.HCLKFreq_Value=170000000
RCC.HSE_VALUE=24000000
RCC.HSI48_VALUE=48000000
RCC.HSI_VALUE=16000000
RCC.LSE_VALUE=32768
RCC.PLLM=RCC_PLLM_DIV6
RCC.PLLN=85
RCC.PLLP=RCC_PLLP_DIV8
RCC.PLLSourceVirtual=RCC_PLLSOURCE_HSE
RCC.SYSCLKFreq_VALUE=170000000
RCC.SYSCLKSource=RCC_SYSCLKSOURCE_PLLCLK
RCC.USBFreq_Value=170000000
RCC.VCOOutputFreq_Value=340000000
SH.S_TIM1_CH1.0=TIM1_CH1,PWM Generation1 CH1 CH1N
SH.S_TIM1_CH2.0=TIM1_CH2,PWM Generation2 CH2 CH2N
SH.S_TIM1_CH3.0=TIM1_CH3,PWM Generation3 CH3 CH3N
SH.SharedAnalog_PC1.0=ADC1_IN7,IN7-Single-Ended
SH.SharedAnalog_PC1.1=ADC2_IN7,IN7-Single-Ended
TIM1.AutoReloadPreload=TIM_AUTORELOAD_PRELOAD_DISABLE
TIM1.AutomaticOutput=TIM_AUTOMATICOUTPUT_DISABLE
TIM1.Break2Filter=3
TIM1.Break2Polarity=TIM_BREAK2POLARITY_HIGH
TIM1.Break2State=TIM_BREAK2_ENABLE
TIM1.BreakFilter=0
TIM1.BreakPolarity=TIM_BREAKPOLARITY_LOW
TIM1.BreakState=TIM_BREAK_DISABLE
TIM1.Channel=TIM_CHANNEL_4
TIM1.Channel-PWM\ Generation1\ CH1\ CH1N=TIM_CHANNEL_1
TIM1.Channel-PWM\ Generation2\ CH2\ CH2N=TIM_CHANNEL_2
TIM1.Channel-PWM\ Generation3\ CH3\ CH3N=TIM_CHANNEL_3
TIM1.Channel-PWM\ Generation4\ No\ Output=TIM_CHANNEL_4
TIM1.ClearInputSource=TIM_CLEARINPUTSOURCE_NONE
TIM1.ClockDivision=TIM_CLOCKDIVISION_DIV2
TIM1.CounterMode=TIM_COUNTERMODE_CENTERALIGNED1
TIM1.DeadTime=((DEAD_TIME_COUNTS) / 2)
TIM1.LockLevel=TIM_LOCKLEVEL_1
TIM1.OCFastMode_PWM=TIM_OCFAST_DISABLE
TIM1.OCIdleState_1=TIM_OCIDLESTATE_RESET
TIM1.OCIdleState_2=TIM_OCIDLESTATE_RESET
TIM1.OCIdleState_3=TIM_OCIDLESTATE_RESET
TIM1.OCIdleState_4=TIM_OCIDLESTATE_RESET
TIM1.OCIdleState_5=TIM_OCIDLESTATE_RESET
TIM1.OCIdleState_6=TIM_OCIDLESTATE_RESET
TIM1.OCMode_PWM-PWM\ Generation1\ CH1\ CH1N=TIM_OCMODE_PWM1
TIM1.OCMode_PWM-PWM\ Generation2\ CH2\ CH2N=TIM_OCMODE_PWM1
TIM1.OCMode_PWM-PWM\ Generation3\ CH3\ CH3N=TIM_OCMODE_PWM1
TIM1.OCMode_PWM-PWM\ Generation4\ No\ Output=TIM_OCMODE_PWM2
TIM1.OCNIdleState_1=TIM_OCNIDLESTATE_RESET
TIM1.OCNIdleState_2=TIM_OCNIDLESTATE_RESET
TIM1.OCNIdleState_3=TIM_OCNIDLESTATE_RESET
TIM1.OCNPolarity_1=TIM_OCNPOLARITY_HIGH
TIM1.OCNPolarity_2=TIM_OCNPOLARITY_HIGH
TIM1.OCNPolarity_3=TIM_OCNPOLARITY_HIGH
TIM1.OCPolarity_1=TIM_OCPOLARITY_HIGH
TIM1.OCPolarity_2=TIM_OCPOLARITY_HIGH
TIM1.OCPolarity_3=TIM_OCPOLARITY_HIGH
TIM1.OCPolarity_4=TIM_OCPOLARITY_HIGH
TIM1.OCPolarity_5=TIM_OCPOLARITY_HIGH
TIM1.OCPolarity_6=TIM_OCPOLARITY_HIGH
TIM1.OffStateIDLEMode=TIM_OSSI_ENABLE
TIM1.OffStateRunMode=TIM_OSSR_ENABLE
TIM1.Period=((PWM_PERIOD_CYCLES) / 2)
TIM1.PeriodNoDither=((PWM_PERIOD_CYCLES) / 2)
TIM1.Prescaler=((TIM_CLOCK_DIVIDER) - 1)
TIM1.Pulse-PWM\ Generation1\ CH1=((PWM_PERIOD_CYCLES) / 4)
TIM1.Pulse-PWM\ Generation2\ CH2=((PWM_PERIOD_CYCLES) / 4)
TIM1.Pulse-PWM\ Generation3\ CH3=((PWM_PERIOD_CYCLES) / 4)
TIM1.Pulse-PWM\ Generation4\ No\ Output=(((PWM_PERIOD_CYCLES) / 2) - (HTMIN))
TIM1.Pulse-PWM\ Generation5\ No\ Output=(((PWM_PERIOD_CYCLES) / 2) + 1)
TIM1.Pulse-PWM\ Generation6\ No\ Output=(((PWM_PERIOD_CYCLES) / 2) + 1)
TIM1.RepetitionCounter=(REP_COUNTER)
TIM1.SourceBRK2DigInput=TIM_BREAKINPUTSOURCE_ENABLE
TIM1.SourceBRK2DigInputPolarity=TIM_BREAKINPUTSOURCE_POLARITY_LOW
TIM1.TIM_MasterOutputTrigger=TIM_TRGO_OC4REF
TIM1.TIM_MasterOutputTrigger2=TIM_TRGO2_RESET
TIM1.TIM_MasterSlaveMode=TIM_MASTERSLAVEMODE_DISABLE
TIM1.TIM_SlaveMode=TIM_SLAVEMODE_TRIGGER
TIM6.PeriodNoDither=9999
TIM6.Prescaler=16999
USART1.BaudRate=115200
USART1.VirtualMode-Asynchronous=VM_ASYNC
USART1.WordLength=WORDLENGTH_8B
USART2.BaudRate=1000000
USART2.VirtualMode-Asynchronous=VM_ASYNC
USART3.VirtualMode-Asynchronous=VM_ASYNC
VP_CORDIC_VS_CORDIC.Mode=CORDIC_Activate
VP_MotorControl_MC_ENABLED.Mode=Enabled
VP_SYS_VS_DBSignals.Mode=DisableDeadBatterySignals
VP_TIM1_VS_ClockSourceITR.Mode=TriggerSource_ITR1
VP_TIM1_VS_ControllerModeTrigger.Mode=Trigger Mode
VP_TIM1_VS_no_output4.Mode=PWM Generation4 No Output
VP_TIM2_VS_ClockSourceINT.Mode=Internal
VP_TIM3_VS_ClockSourceINT.Mode=Internal
VP_TIM6_VS_ClockSourceINT.Mode=Enable_Timer
board=custom

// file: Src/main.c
/* USER CODE BEGIN Header */
/**
  ******************************************************************************
  * @file           : main.c
  * @brief          : Main program body
  ******************************************************************************
  * @attention
  *
  * <h2><center>&copy; Copyright (c) 2026 STMicroelectronics.
  * All rights reserved.</center></h2>
  *
  * This software component is licensed by ST under Ultimate Liberty license
  * SLA0044, the "License"; You may not use this file except in compliance with
  * the License. You may obtain a copy of the License at:
  *                             www.st.com/SLA0044
  *
  ******************************************************************************
  */
/* USER CODE END Header */
#include "main.h"
#include "adc.h"
#include "cordic.h"
#include "tim.h"
#include "usart.h"
#include "gpio.h"

/* USER CODE BEGIN Includes */
	#include "stdint.h"
  #include "stdio.h"

  /* Bus-voltage sampling. */
#include "mc_config.h"
#include "bus_voltage_sensor.h"
#include "commissioning.h"
#if defined(F1_PRODUCT_MODBUS)
#include "product_modbus.h"
#include "usrdug.h"
#endif
#if defined(F1_CN2_ASCII)
#include "cn2_ascii.h"
#endif
/* USER CODE END Includes */

/* USER CODE BEGIN PTD */
	uint8_t RecData;
  extern int ConType;
  extern int MotorLevel;
  extern int TotolSwitch;
  extern int IsRec;
  int SpeedTable[15]={1000,2000,3000,4000,5000,6000,7000,8000,9000,10000,11000,12000,13000,14000,18000};
	uint8_t Motor_flag=0;
  int Isrun=0;
	int RealSpeed=0;
	extern int MotorDir;

	#define MOTOR_SPEED_ERROR_RPM  200U
	#define MOTOR_CHECK_TIME_MS    2000
	#define MOTOR_RAMP_TIME_MS     3000

	static uint16_t MotorLockedMaxRpm = 0;
	static uint16_t MotorSetRpm = 0;
	static uint8_t MotorLastDir = 0;
	static uint32_t MotorCheckTick = 0;

	volatile uint8_t TIM6SendSpeedFlag = 0;
	uint8_t SpeedTxBuffer[2];

/* USER CODE END PTD */

/* USER CODE BEGIN PV */

/* Latest bus ADC sample converted to a 12-bit value (0..4095). */
volatile uint16_t Debug_Vbus_ADC = 0;

/* Filtered bus voltage in whole volts. */
volatile uint16_t Debug_Vbus_V = 0;

/* Debug-value update time. */
static uint32_t Debug_Vbus_Tick = 0;

/* USER CODE END PV */

void SystemClock_Config(void);
static void MX_NVIC_Init(void);

int main(void)
{

  /* MCU Configuration--------------------------------------------------------*/

  /* Reset of all peripherals, Initializes the Flash interface and the Systick. */
  HAL_Init();

  /* Configure the system clock */
  SystemClock_Config();

  /* Initialize all configured peripherals */
  MX_GPIO_Init();
  MX_ADC1_Init();
  MX_ADC2_Init();
  MX_CORDIC_Init();
  MX_TIM1_Init();
  MX_USART1_UART_Init();
  MX_MotorControl_Init();
  MX_TIM2_Init();
  MX_TIM3_Init();
  MX_TIM6_Init();
#if !defined(F1_CN2_ASCII)
  MX_USART2_UART_Init();
  MX_USART3_UART_Init();
#endif

  /* Initialize interrupts */
  MX_NVIC_Init();
  /* USER CODE BEGIN 2 */
	/*
	 * Hardware-safe startup intent for F1_POWER_V004. PB13 is the documented
	 * HEAT channel. PB14/HeatRoll has no schematic wire or named PCB net; keeping
	 * it low avoids treating that firmware-only alias as a real heater output.
	 */
	HAL_GPIO_WritePin(Relay_GPIO_Port,Relay_Pin,GPIO_PIN_SET);
	HAL_GPIO_WritePin(GPIOB, HeatBar_Pin|HeatRoll_Pin, GPIO_PIN_RESET);
	HAL_TIM_Base_Stop_IT(&htim3);
  HAL_TIM_Base_Stop_IT(&htim2);
	HAL_TIM_Base_Start_IT(&htim6);
#if defined(F1_PRODUCT_MODBUS)
  ProductModbus_Init();
  UsrDug_Init();
#elif defined(F1_CN2_ASCII)
  Cn2Ascii_Init();
#else
  Commissioning_Init();
  HAL_UART_Receive_IT(&huart2,&RecData,sizeof(RecData));
#endif

  /* USER CODE END 2 */

  /* Infinite loop */
  /* USER CODE BEGIN WHILE */
  while (1)
  {
#if defined(F1_PRODUCT_MODBUS)
    ProductModbus_Task();
    UsrDug_Task();
#elif defined(F1_CN2_ASCII)
    Cn2Ascii_Task();
#else
    Commissioning_Task();
#endif
    continue; /* Legacy appliance policy below is retained only for baseline recovery. */

    /* USER CODE END WHILE */

    /* USER CODE BEGIN 3 */

    /* Refresh debug values every 100 ms without changing the MCSDK ADC rate. */
if ((uint32_t)(HAL_GetTick() - Debug_Vbus_Tick) >= 100U)
{
    Debug_Vbus_Tick = HAL_GetTick();

    /* ADC data is 12-bit left-aligned; shift right four bits to obtain 0..4095. */
    Debug_Vbus_ADC = VBS_GetBusVoltage_d(&RealBusVoltageSensorParamsM1._Super) >> 4;

    /* Read the library-converted bus voltage in volts. */
    Debug_Vbus_V = VBS_GetAvBusVoltage_V(&RealBusVoltageSensorParamsM1._Super);
}

		State_t MotorState;
    uint16_t TargetRpm;
    uint16_t ActualRpm;
    int32_t ActualSpeed;
    int16_t SpeedCommand;

    MotorState = MC_GetSTMStateMotor1();

    /* Legacy motor control below is unreachable in the current series. */

		if ((TotolSwitch != 0) && (ConType == 6) && (MotorLevel >= 1) && (MotorLevel <= 15))
		{

				TargetRpm = SpeedTable[MotorLevel - 1];

				if ((MotorLockedMaxRpm != 0) && (TargetRpm > MotorLockedMaxRpm))
				{
						TargetRpm = MotorLockedMaxRpm;
				}

				SpeedCommand = (MotorDir == 0)? -(int16_t)(TargetRpm / 6):  (int16_t)(TargetRpm / 6);

				if (MotorState == FAULT_NOW)
				{
				}

				else if (MotorState == FAULT_OVER)
				{
						MC_AcknowledgeFaultMotor1();
						MotorSetRpm = 0;
				}

				else if (MotorState == IDLE)
				{
						MC_ProgramSpeedRampMotor1(SpeedCommand,MOTOR_RAMP_TIME_MS);

						if (MC_StartMotor1())
						{
								MotorSetRpm = TargetRpm;
								MotorLastDir = MotorDir;
								MotorCheckTick = 0;
						}
				}
				else if (MotorState == RUN)
				{

						if (MotorDir != MotorLastDir)
						{
								MC_StopMotor1();
								MotorSetRpm = 0;
								MotorCheckTick = 0;
						}

						else if (TargetRpm != MotorSetRpm)
						{
								MC_ProgramSpeedRampMotor1(SpeedCommand,MOTOR_RAMP_TIME_MS);

								MotorSetRpm = TargetRpm;
								MotorCheckTick = 0;
						}

						else if ((MotorLockedMaxRpm == 0) && MC_HasRampCompletedMotor1())
						{
								ActualSpeed = MC_GetMecSpeedAverageMotor1();

								if (ActualSpeed < 0)
								{
										ActualSpeed = -ActualSpeed;
								}

								ActualRpm = (uint16_t)(ActualSpeed * 6);

								if ((ActualRpm > 0) && (TargetRpm >ActualRpm + MOTOR_SPEED_ERROR_RPM))
								{
										if (MotorCheckTick == 0)
										{
												MotorCheckTick = HAL_GetTick();
										}
										else if ((HAL_GetTick() - MotorCheckTick) >= MOTOR_CHECK_TIME_MS)
										{
												MotorLockedMaxRpm = ActualRpm;
												MotorSetRpm = ActualRpm;
												SpeedCommand = (MotorDir == 0)? -(int16_t)(ActualRpm / 6):(int16_t)(ActualRpm / 6);
												MC_ProgramSpeedRampMotor1(SpeedCommand,MOTOR_RAMP_TIME_MS);
												MotorCheckTick = 0;
										}
								}
								else
								{
										MotorCheckTick = 0;
								}
						}
				}
			}

		if (((ConType == 6) && (MotorLevel == 0)))
    {
        MC_StopMotor1();
        MotorSetRpm = 0;
        MotorCheckTick = 0;
    }

		/* Legacy speed response path. */
//		if (TIM6SendSpeedFlag != 0)
//		{
//			int ActualRpm;

//			TIM6SendSpeedFlag = 0;

//
//			ActualRpm = (int16_t)MC_GetMecSpeedAverageMotor1();
//			ActualRpm *=6;
//			SpeedTxBuffer[1] = (ActualRpm >> 8) & 0xFF;  // ???
//			SpeedTxBuffer[0] = ActualRpm & 0xFF;         // ???
//			HAL_UART_Transmit(&huart2,SpeedTxBuffer,2,100);
//		}

		          /* ???? USART3 ????????????? */
        if (TIM6SendSpeedFlag != 0U)
        {
            int16_t speedRpm;
            int txLength;
            char speedTxText[32];

            /* ?? TIM6 ???? */
            TIM6SendSpeedFlag = 0U;

            /*
             * MCSDK ????? 0.1 Hz?
             * 0.1 ?/? ? 60 = 6 RPM,???? 6?
             */
            speedRpm = (int16_t)
                       ((int32_t)MC_GetMecSpeedAverageMotor1() * 6);

            /*
             * ???????????????? ASCII ????
             * \r\n ??????????
             */
            txLength = snprintf(speedTxText,
                                sizeof(speedTxText),
                                ",%d,\r\n",
                                (int)speedRpm);

            if (txLength > 0)
            {
                (void)HAL_UART_Transmit(&huart3,
                                        (uint8_t *)speedTxText,
                                        (uint16_t)txLength,
                                        100U);
            }
        }

  }
  /* USER CODE END 3 */
}

void SystemClock_Config(void)
{
  RCC_OscInitTypeDef RCC_OscInitStruct = {0};
  RCC_ClkInitTypeDef RCC_ClkInitStruct = {0};
  RCC_PeriphCLKInitTypeDef PeriphClkInit = {0};

  /** Configure the main internal regulator output voltage
  */
  HAL_PWREx_ControlVoltageScaling(PWR_REGULATOR_VOLTAGE_SCALE1_BOOST);
  /** Initializes the RCC Oscillators according to the specified parameters
  * in the RCC_OscInitTypeDef structure.
  */
  RCC_OscInitStruct.OscillatorType = RCC_OSCILLATORTYPE_HSE;
  RCC_OscInitStruct.HSEState = RCC_HSE_ON;
  RCC_OscInitStruct.PLL.PLLState = RCC_PLL_ON;
  RCC_OscInitStruct.PLL.PLLSource = RCC_PLLSOURCE_HSE;
  RCC_OscInitStruct.PLL.PLLM = RCC_PLLM_DIV6;
  RCC_OscInitStruct.PLL.PLLN = 85;
  RCC_OscInitStruct.PLL.PLLP = RCC_PLLP_DIV8;
  RCC_OscInitStruct.PLL.PLLQ = RCC_PLLQ_DIV2;
  RCC_OscInitStruct.PLL.PLLR = RCC_PLLR_DIV2;
  if (HAL_RCC_OscConfig(&RCC_OscInitStruct) != HAL_OK)
  {
    Error_Handler();
  }
  /** Initializes the CPU, AHB and APB buses clocks
  */
  RCC_ClkInitStruct.ClockType = RCC_CLOCKTYPE_HCLK|RCC_CLOCKTYPE_SYSCLK
                              |RCC_CLOCKTYPE_PCLK1|RCC_CLOCKTYPE_PCLK2;
  RCC_ClkInitStruct.SYSCLKSource = RCC_SYSCLKSOURCE_PLLCLK;
  RCC_ClkInitStruct.AHBCLKDivider = RCC_SYSCLK_DIV1;
  RCC_ClkInitStruct.APB1CLKDivider = RCC_HCLK_DIV1;
  RCC_ClkInitStruct.APB2CLKDivider = RCC_HCLK_DIV1;

  if (HAL_RCC_ClockConfig(&RCC_ClkInitStruct, FLASH_LATENCY_4) != HAL_OK)
  {
    Error_Handler();
  }
  /** Initializes the peripherals clocks
  */
  PeriphClkInit.PeriphClockSelection = RCC_PERIPHCLK_USART1|RCC_PERIPHCLK_USART2
                              |RCC_PERIPHCLK_USART3|RCC_PERIPHCLK_ADC12;
  PeriphClkInit.Usart1ClockSelection = RCC_USART1CLKSOURCE_PCLK2;
  PeriphClkInit.Usart2ClockSelection = RCC_USART2CLKSOURCE_PCLK1;
  PeriphClkInit.Usart3ClockSelection = RCC_USART3CLKSOURCE_PCLK1;
  PeriphClkInit.Adc12ClockSelection = RCC_ADC12CLKSOURCE_PLL;
  if (HAL_RCCEx_PeriphCLKConfig(&PeriphClkInit) != HAL_OK)
  {
    Error_Handler();
  }
  /** Enables the Clock Security System
  */
  HAL_RCC_EnableCSS();
}

/**
  * @brief NVIC Configuration.
  * @retval None
  */
static void MX_NVIC_Init(void)
{
  /* TIM1_BRK_TIM15_IRQn interrupt configuration */
  HAL_NVIC_SetPriority(TIM1_BRK_TIM15_IRQn, 4, 1);
  HAL_NVIC_EnableIRQ(TIM1_BRK_TIM15_IRQn);
  /* TIM1_UP_TIM16_IRQn interrupt configuration */
  HAL_NVIC_SetPriority(TIM1_UP_TIM16_IRQn, 0, 0);
  HAL_NVIC_EnableIRQ(TIM1_UP_TIM16_IRQn);
  /* ADC1_2_IRQn interrupt configuration */
  HAL_NVIC_SetPriority(ADC1_2_IRQn, 2, 0);
  HAL_NVIC_EnableIRQ(ADC1_2_IRQn);
  /* USART1_IRQn interrupt configuration */
  HAL_NVIC_SetPriority(USART1_IRQn, 3, 1);
  HAL_NVIC_EnableIRQ(USART1_IRQn);
}

void Error_Handler(void)
{
  __disable_irq();
  while (1)
  {
  }
}

/************************ (C) COPYRIGHT STMicroelectronics *****END OF FILE****/
